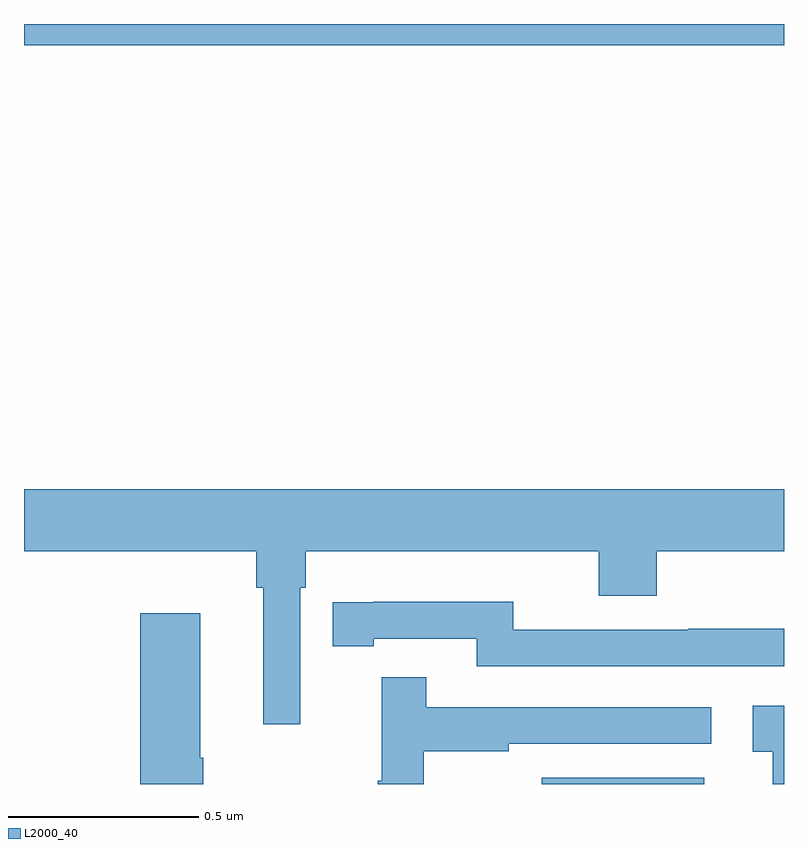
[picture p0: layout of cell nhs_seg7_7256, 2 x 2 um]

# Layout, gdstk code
import gdstk
lib = gdstk.Library(unit=1e-6, precision=1e-09)
def R(c, l, rs):  # rectangles x0, y0, x1, y1
    for r in rs: c.add(gdstk.rectangle(r[:2], r[2:], *l))
def P(c, l, *ps):  # polygons
    for p in ps: c.add(gdstk.Polygon(p, *l))
L2000_40 = (2000, 40)

nhs_seg7_7256 = lib.new_cell('nhs_seg7_7256')
R(nhs_seg7_7256, L2000_40, [(210.363,1004,210.79,1004.017), (209,1005.944,211,1006)])
P(nhs_seg7_7256, L2000_40, [(209.727,1004.516),(209.741,1004.516),(209.741,1004.612),(210.512,1004.612),(210.512,1004.495),(210.665,1004.495),(210.665,1004.612),(211,1004.612),(211,1004.776),(209,1004.776),(209,1004.612),(209.611,1004.612),(209.611,1004.516),(209.63,1004.516),(209.63,1004.157),(209.727,1004.157)],
  [(211,1004.408),(210.748,1004.408),(210.748,1004.406),(210.288,1004.406),(210.288,1004.479),(209.92,1004.479),(209.92,1004.478),(209.812,1004.478),(209.812,1004.362),(209.92,1004.362),(209.92,1004.382),(210.192,1004.382),(210.192,1004.31),(211,1004.31)],
  [(209.472,1004.069),(209.464,1004.069),(209.464,1004.449),(209.306,1004.449),(209.306,1004),(209.472,1004)],
  [(210.052,1004.086),(210.275,1004.086),(210.275,1004.106),(210.808,1004.106),(210.808,1004.202),(210.059,1004.202),(210.059,1004.281),(209.942,1004.281),(209.942,1004.009),(209.931,1004.009),(209.931,1004),(210.052,1004)],
  [(211,1004.206),(210.918,1004.206),(210.918,1004.085),(210.971,1004.085),(210.971,1004),(211,1004)])

lib.write_gds('nhs_seg7_7256.gds')
